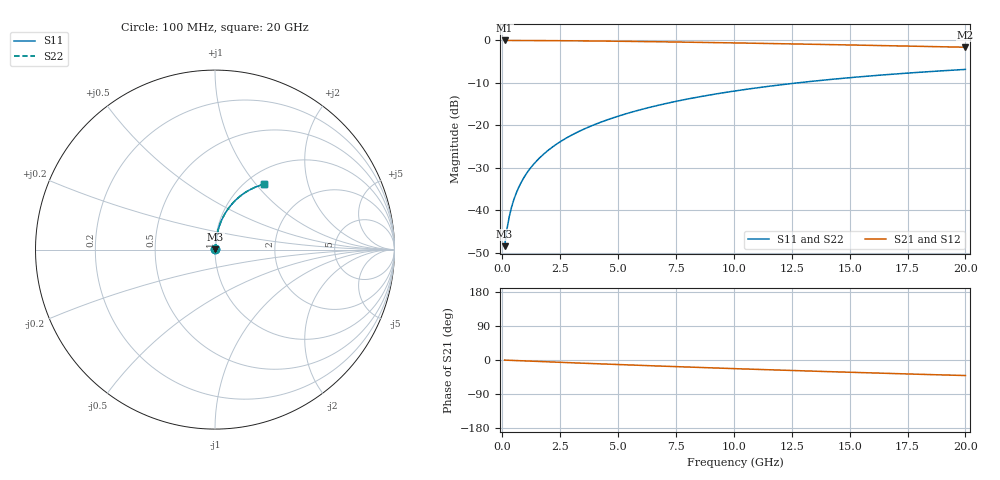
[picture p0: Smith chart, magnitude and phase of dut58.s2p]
! Touchstone file exported from HFSS 2024.1.0
!  File:  C:/UserFiles/LocalFiles/RDL_TSV_Batchsim/temp_RDL_bottom_58_1778693319.aedt
!  Generated:  01:31:22 AM May 14, 2026
!  Design:  RDL_bottom
!  Project:  temp_RDL_bottom_58_1778693319
!  Setup:  Setup1
!  Solution:  Sweep
! Variables:
!  dtsv = 10.80580581um
!  hbump = 3um
!  htsv = 55.6um
!  ldown = 516.64um
!  lrdl = 100um
!  p = 40
!  p1 = 59.9um
!  rhole = 1um
!  t = 450um
!  tdown = 4.48um
!  trdl = 3.915915916um
!  wdown = 15.76um
!  wrdl = 20um
# GHz S MA R 50.000000
! Terminal data exported
! Port[1] = RDL1_T1
! Port[2] = RDL1_T2
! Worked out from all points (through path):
!   200 points, 100 MHz to 20 GHz, reference 50 ohm
!   highest |S21| = -0.02 dB at 100 MHz (marker M1); lowest = -1.6 dB at 20 GHz (marker M2)
!   group delay of S21, straight-line fit = 5.68 ps
!   lowest |S11| = -48.4 dB at 100 MHz (marker M3), VSWR 1.01, Z = 50.3 + j0.268 ohm
!   |S11| at or under -10 dB: start of sweep to 12.76 GHz
!   |S22| runs from -48.4 to -6.8 dB; largest |S21 - S12| = 2.7e-15
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0.1  0.003791 44.6  0.9973 -0.3  0.9973 -0.3  0.003791 44.6
! Gamma 0 0 0 0
! Port Impedance 50 0 50 0
0.2  0.005986 62.3  0.9972 -0.5  0.9972 -0.5  0.005986 62.3
0.3  0.008416 69.9  0.9971 -0.8  0.9971 -0.8  0.008416 69.9
0.4  0.0109 73.9  0.9969 -1.0  0.9969 -1.0  0.0109 73.9
0.5  0.0134 76.4  0.9968 -1.3  0.9968 -1.3  0.0134 76.4
0.7  0.01841 79.3  0.9965 -1.7  0.9965 -1.7  0.01841 79.3
0.8  0.02093 80.2  0.9963 -2.0  0.9963 -2.0  0.02093 80.2
1  0.02597 81.4  0.996 -2.5  0.996 -2.5  0.02597 81.4
1.2  0.03102 82.1  0.9955 -3.0  0.9955 -3.0  0.03102 82.1
1.4  0.03609 82.6  0.995 -3.5  0.995 -3.5  0.03609 82.6
1.7  0.04371 82.9  0.9942 -4.2  0.9942 -4.2  0.04372 83.0
2  0.05135 83.1  0.9932 -4.9  0.9932 -4.9  0.05135 83.1
2.7  0.06922 82.8  0.9903 -6.6  0.9903 -6.6  0.06923 82.8
3.5  0.0897 82.0  0.9862 -8.5  0.9862 -8.5  0.0897 82.0
4.2  0.1076 81.1  0.982 -10.2  0.982 -10.2  0.1076 81.1
5  0.1281 79.9  0.9765 -12.0  0.9765 -12.0  0.1281 79.9
6.8  0.1739 76.9  0.9625 -16.0  0.9625 -16.0  0.174 76.9
8.4  0.2139 74.0  0.9485 -19.4  0.9485 -19.4  0.214 74.0
10.1  0.2552 70.9  0.9326 -23.0  0.9326 -23.0  0.2553 70.9
13.4  0.3303 64.7  0.8996 -29.4  0.8996 -29.4  0.3303 64.7
16.7  0.3971 58.7  0.865 -35.4  0.865 -35.4  0.3972 58.7
20  0.4551 53.2  0.8303 -41.0  0.8303 -41.0  0.4552 53.2
